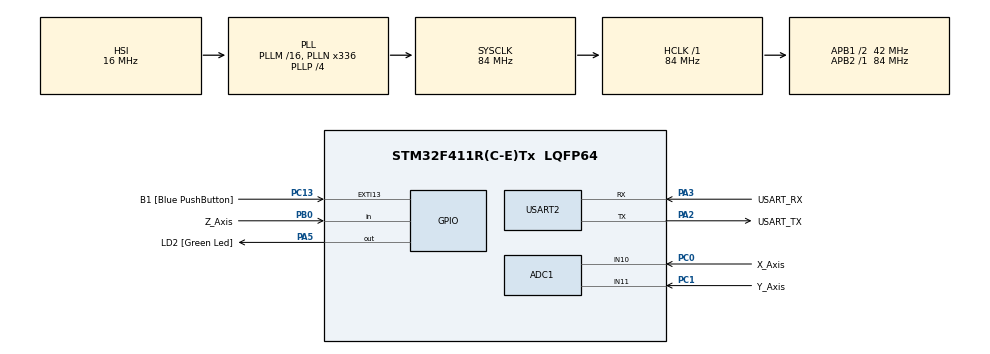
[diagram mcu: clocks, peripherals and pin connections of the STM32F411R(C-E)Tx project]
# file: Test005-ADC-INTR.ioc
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ADC1.Channel-0\#ChannelRegularConversion=ADC_CHANNEL_10
ADC1.Channel-3\#ChannelRegularConversion=ADC_CHANNEL_11
ADC1.DiscontinuousConvMode=ENABLE
ADC1.InjNumberOfConversion=0
ADC1.NbrOfConversion=2
ADC1.NbrOfConversionFlag=1
ADC1.NbrOfDiscConversion=1
ADC1.Rank-0\#ChannelRegularConversion=1
ADC1.Rank-3\#ChannelRegularConversion=2
ADC1.SamplingTime-0\#ChannelRegularConversion=ADC_SAMPLETIME_3CYCLES
ADC1.SamplingTime-3\#ChannelRegularConversion=ADC_SAMPLETIME_3CYCLES
ADC1.ScanConvMode=ENABLE
ADC1.master=1
Mcu.Family=STM32F4
Mcu.Name=STM32F411R(C-E)Tx
Mcu.Package=LQFP64
NVIC.ADC_IRQn=true\:0\:0\:false\:false\:true\:true\:true\:true
NVIC.PriorityGroup=NVIC_PRIORITYGROUP_0
NVIC.TIM3_IRQn=true\:0\:0\:false\:false\:true\:true\:true\:true
PA13.GPIO_Label=TMS
PA13.Mode=Serial_Wire
PA13.Signal=SYS_JTMS-SWDIO
PA14.GPIO_Label=TCK
PA14.Mode=Serial_Wire
PA14.Signal=SYS_JTCK-SWCLK
PA2.GPIO_Label=USART_TX
PA2.Mode=Asynchronous
PA2.Signal=USART2_TX
PA3.GPIO_Label=USART_RX
PA3.Mode=Asynchronous
PA3.Signal=USART2_RX
PA5.GPIO_Label=LD2 [Green Led]
PA5.Signal=GPIO_Output
PB0.GPIO_Label=Z_Axis
PB0.GPIO_PuPd=GPIO_PULLUP
PB0.Signal=GPIO_Input
PB3.GPIO_Label=SWO
PB3.Signal=SYS_JTDO-SWO
PC0.GPIO_Label=X_Axis
PC0.Signal=ADCx_IN10
PC1.GPIO_Label=Y_Axis
PC1.Signal=ADCx_IN11
PC13-ANTI_TAMP.GPIO_Label=B1 [Blue PushButton]
PC13-ANTI_TAMP.GPIO_ModeDefaultEXTI=GPIO_MODE_IT_FALLING
PC13-ANTI_TAMP.Signal=GPXTI13
PC14-OSC32_IN.Mode=LSE-External-Oscillator
PC14-OSC32_IN.Signal=RCC_OSC32_IN
PC15-OSC32_OUT.Mode=LSE-External-Oscillator
PC15-OSC32_OUT.Signal=RCC_OSC32_OUT
PH0\ -\ OSC_IN.Mode=HSE-External-Clock-Source
PH0\ -\ OSC_IN.Signal=RCC_OSC_IN
PH1\ -\ OSC_OUT.Mode=HSE-External-Clock-Source
PH1\ -\ OSC_OUT.Signal=RCC_OSC_OUT
ProjectManager.HeapSize=0x200
ProjectManager.StackSize=0x400
ProjectManager.TargetToolchain=STM32CubeIDE
RCC.48MHZClocksFreq_Value=84000000
RCC.AHBFreq_Value=84000000
RCC.APB1CLKDivider=RCC_HCLK_DIV2
RCC.APB1Freq_Value=42000000
RCC.APB1TimFreq_Value=84000000
RCC.APB2Freq_Value=84000000
RCC.APB2TimFreq_Value=84000000
RCC.CortexFreq_Value=84000000
RCC.FLatency-AdvancedSettings=FLASH_LATENCY_2
RCC.HCLKFreq_Value=84000000
RCC.HSE_VALUE=8000000
RCC.HSI_VALUE=16000000
RCC.PLLN=336
RCC.PLLP=RCC_PLLP_DIV4
RCC.SYSCLKFreq_VALUE=84000000
RCC.SYSCLKSource=RCC_SYSCLKSOURCE_PLLCLK
RCC.VCOOutputFreq_Value=336000000
SH.ADCx_IN10.0=ADC1_IN10,IN10
SH.ADCx_IN11.0=ADC1_IN11,IN11
TIM3.Period=2000-1
TIM3.Prescaler=8400-1
TIM4.Period=65535
TIM4.Prescaler=8400-1
USART2.VirtualMode=VM_ASYNC
VP_TIM3_VS_ClockSourceINT.Mode=Internal
VP_TIM4_VS_ClockSourceINT.Mode=Internal
board=NUCLEO-F411RE

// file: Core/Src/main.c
/* USER CODE BEGIN Header */
/**
  ******************************************************************************
  * @file           : main.c
  * @brief          : Main program body
  ******************************************************************************
  * @attention
  *
  * Copyright (c) 2024 STMicroelectronics.
  * All rights reserved.
  *
  * This software is licensed under terms that can be found in the LICENSE file
  * in the root directory of this software component.
  * If no LICENSE file comes with this software, it is provided AS-IS.
  *
  ******************************************************************************
  */
/* USER CODE END Header */
#include "main.h"

ADC_HandleTypeDef hadc1;

TIM_HandleTypeDef htim3;
TIM_HandleTypeDef htim4;

UART_HandleTypeDef huart2;

void SystemClock_Config(void);
static void MX_GPIO_Init(void);
static void MX_USART2_UART_Init(void);
static void MX_ADC1_Init(void);
static void MX_TIM3_Init(void);
static void MX_TIM4_Init(void);

/* USER CODE BEGIN 0 */
int xa[100],ya[100];
void MakeItem()
{
	int i;
	srand(htim4.Instance->CNT);
	for(i=0;i<100;i++)
	{
		int v1 =  rand();  //0 ~ 2,147,483,647
		int v2 =  rand();
		//printf("v : %d\r\n", x);
		//HAL_Delay(100);
		xa[i] = (((double)v1 / 2147483647.)) * 80;
		ya[i] = (((double)v2 / 2147483647.)) * 24;
		//printf("[%d;%d](%d,%d)\r\n",v1, v2, xa[i], ya[i]);
		printf("\033[%d;%dHo",ya[i], xa[i]);
	}
	printf("\n");
}
int cx=39,cy=12;  // initial position
int x, y = 12;
int idx=0;
void HAL_ADC_ConvCpltCallback(ADC_HandleTypeDef *hadc)
{
	//HAL_ADC_Start(&hadc1);  no need in HAL_ADC_ConvCpltCallback function
	//HAL_ADC_PollForConversion(&hadc1, 1000);  no need in HAL_ADC_ConvCpltCallback function
	int v = ((double)((HAL_ADC_GetValue(&hadc1) / 1400))) - 1;  //(0~4096)/1400 = -1, 0, 1  -> joystick move 1kan
	if (idx==0) x=cx+v; else y=cy+v;
	//printf("ADC value: %d\r\n", v);
	if(++idx==2) idx=0;

}

void HAL_TIM_PeriodElapsedCallback(TIM_HandleTypeDef *htim)
{
	HAL_ADC_Start_IT(&hadc1);  //from HAL_TIM_Base_Start_IT(&htim3) -> use htim3 Interrupt  -> OPERATE HAL_ADC_ConvCpltCallback
}

/* USER CODE END 0 */

int main(void)
{

  /* MCU Configuration--------------------------------------------------------*/

  /* Reset of all peripherals, Initializes the Flash interface and the Systick. */
  HAL_Init();

  /* Configure the system clock */
  SystemClock_Config();

  /* Initialize all configured peripherals */
  MX_GPIO_Init();
  MX_USART2_UART_Init();
  MX_ADC1_Init();
  MX_TIM3_Init();
  MX_TIM4_Init();
  /* USER CODE BEGIN 2 */
  ProgramStart("ADC-Interrupt");
  HAL_TIM_Base_Start_IT(&htim3);  //use htim3 interrupt
  HAL_TIM_Base_Start(&htim4);    // use htim4 timer
  printf("\033[2J\033[?25l\n");  // Clear screen & cursor invisible
  MakeItem();

  /* USER CODE END 2 */

  /* Infinite loop */
  /* USER CODE BEGIN WHILE */
  int sx=80,sy=24;	// screen size

  while (1)
  {

	 //printf("current adc: %d %d\r\n", x, y);
	 x = (x > 78) ? 78 : (x < 0) ? 0 : x;
	 y = (y > 23) ? 23 : (y < 0) ? 0 : y;
	 int z = HAL_GPIO_ReadPin(Z_Axis_GPIO_Port, Z_Axis_Pin);
	 printf("\033[0;0HADC Value : (%d,%d,%d)", x, y, z);  // location info
	 printf("\033[%d;%dH \033[%d;%dH@\033[A\n", cy, cx, y, x);
	 cx = x; cy = y;  //save joysitck current position
	 HAL_Delay(100);

    /* USER CODE END WHILE */

  }
}

void SystemClock_Config(void)
{
  RCC_OscInitTypeDef RCC_OscInitStruct = {0};
  RCC_ClkInitTypeDef RCC_ClkInitStruct = {0};

  /** Configure the main internal regulator output voltage
  */
  __HAL_RCC_PWR_CLK_ENABLE();
  __HAL_PWR_VOLTAGESCALING_CONFIG(PWR_REGULATOR_VOLTAGE_SCALE1);

  /** Initializes the RCC Oscillators according to the specified parameters
  * in the RCC_OscInitTypeDef structure.
  */
  RCC_OscInitStruct.OscillatorType = RCC_OSCILLATORTYPE_HSI;
  RCC_OscInitStruct.HSIState = RCC_HSI_ON;
  RCC_OscInitStruct.HSICalibrationValue = RCC_HSICALIBRATION_DEFAULT;
  RCC_OscInitStruct.PLL.PLLState = RCC_PLL_ON;
  RCC_OscInitStruct.PLL.PLLSource = RCC_PLLSOURCE_HSI;
  RCC_OscInitStruct.PLL.PLLM = 16;
  RCC_OscInitStruct.PLL.PLLN = 336;
  RCC_OscInitStruct.PLL.PLLP = RCC_PLLP_DIV4;
  RCC_OscInitStruct.PLL.PLLQ = 4;
  if (HAL_RCC_OscConfig(&RCC_OscInitStruct) != HAL_OK)
  {
    Error_Handler();
  }

  /** Initializes the CPU, AHB and APB buses clocks
  */
  RCC_ClkInitStruct.ClockType = RCC_CLOCKTYPE_HCLK|RCC_CLOCKTYPE_SYSCLK
                              |RCC_CLOCKTYPE_PCLK1|RCC_CLOCKTYPE_PCLK2;
  RCC_ClkInitStruct.SYSCLKSource = RCC_SYSCLKSOURCE_PLLCLK;
  RCC_ClkInitStruct.AHBCLKDivider = RCC_SYSCLK_DIV1;
  RCC_ClkInitStruct.APB1CLKDivider = RCC_HCLK_DIV2;
  RCC_ClkInitStruct.APB2CLKDivider = RCC_HCLK_DIV1;

  if (HAL_RCC_ClockConfig(&RCC_ClkInitStruct, FLASH_LATENCY_2) != HAL_OK)
  {
    Error_Handler();
  }
}

static void MX_ADC1_Init(void)
{

  ADC_ChannelConfTypeDef sConfig = {0};

  /** Configure the global features of the ADC (Clock, Resolution, Data Alignment and number of conversion)
  */
  hadc1.Instance = ADC1;
  hadc1.Init.ClockPrescaler = ADC_CLOCK_SYNC_PCLK_DIV4;
  hadc1.Init.Resolution = ADC_RESOLUTION_12B;
  hadc1.Init.ScanConvMode = ENABLE;
  hadc1.Init.ContinuousConvMode = DISABLE;
  hadc1.Init.DiscontinuousConvMode = ENABLE;
  hadc1.Init.NbrOfDiscConversion = 1;
  hadc1.Init.ExternalTrigConvEdge = ADC_EXTERNALTRIGCONVEDGE_NONE;
  hadc1.Init.ExternalTrigConv = ADC_SOFTWARE_START;
  hadc1.Init.DataAlign = ADC_DATAALIGN_RIGHT;
  hadc1.Init.NbrOfConversion = 2;
  hadc1.Init.DMAContinuousRequests = DISABLE;
  hadc1.Init.EOCSelection = ADC_EOC_SINGLE_CONV;
  if (HAL_ADC_Init(&hadc1) != HAL_OK)
  {
    Error_Handler();
  }

  /** Configure for the selected ADC regular channel its corresponding rank in the sequencer and its sample time.
  */
  sConfig.Channel = ADC_CHANNEL_10;
  sConfig.Rank = 1;
  sConfig.SamplingTime = ADC_SAMPLETIME_3CYCLES;
  if (HAL_ADC_ConfigChannel(&hadc1, &sConfig) != HAL_OK)
  {
    Error_Handler();
  }

  /** Configure for the selected ADC regular channel its corresponding rank in the sequencer and its sample time.
  */
  sConfig.Channel = ADC_CHANNEL_11;
  sConfig.Rank = 2;
  if (HAL_ADC_ConfigChannel(&hadc1, &sConfig) != HAL_OK)
  {
    Error_Handler();
  }

}

static void MX_TIM3_Init(void)
{

  TIM_ClockConfigTypeDef sClockSourceConfig = {0};
  TIM_MasterConfigTypeDef sMasterConfig = {0};

  htim3.Instance = TIM3;
  htim3.Init.Prescaler = 8400-1;
  htim3.Init.CounterMode = TIM_COUNTERMODE_UP;
  htim3.Init.Period = 2000-1;
  htim3.Init.ClockDivision = TIM_CLOCKDIVISION_DIV1;
  htim3.Init.AutoReloadPreload = TIM_AUTORELOAD_PRELOAD_DISABLE;
  if (HAL_TIM_Base_Init(&htim3) != HAL_OK)
  {
    Error_Handler();
  }
  sClockSourceConfig.ClockSource = TIM_CLOCKSOURCE_INTERNAL;
  if (HAL_TIM_ConfigClockSource(&htim3, &sClockSourceConfig) != HAL_OK)
  {
    Error_Handler();
  }
  sMasterConfig.MasterOutputTrigger = TIM_TRGO_RESET;
  sMasterConfig.MasterSlaveMode = TIM_MASTERSLAVEMODE_DISABLE;
  if (HAL_TIMEx_MasterConfigSynchronization(&htim3, &sMasterConfig) != HAL_OK)
  {
    Error_Handler();
  }

}

static void MX_TIM4_Init(void)
{

  TIM_ClockConfigTypeDef sClockSourceConfig = {0};
  TIM_MasterConfigTypeDef sMasterConfig = {0};

  htim4.Instance = TIM4;
  htim4.Init.Prescaler = 8400-1;
  htim4.Init.CounterMode = TIM_COUNTERMODE_UP;
  htim4.Init.Period = 65535;
  htim4.Init.ClockDivision = TIM_CLOCKDIVISION_DIV1;
  htim4.Init.AutoReloadPreload = TIM_AUTORELOAD_PRELOAD_DISABLE;
  if (HAL_TIM_Base_Init(&htim4) != HAL_OK)
  {
    Error_Handler();
  }
  sClockSourceConfig.ClockSource = TIM_CLOCKSOURCE_INTERNAL;
  if (HAL_TIM_ConfigClockSource(&htim4, &sClockSourceConfig) != HAL_OK)
  {
    Error_Handler();
  }
  sMasterConfig.MasterOutputTrigger = TIM_TRGO_RESET;
  sMasterConfig.MasterSlaveMode = TIM_MASTERSLAVEMODE_DISABLE;
  if (HAL_TIMEx_MasterConfigSynchronization(&htim4, &sMasterConfig) != HAL_OK)
  {
    Error_Handler();
  }

}

static void MX_USART2_UART_Init(void)
{

  huart2.Instance = USART2;
  huart2.Init.BaudRate = 115200;
  huart2.Init.WordLength = UART_WORDLENGTH_8B;
  huart2.Init.StopBits = UART_STOPBITS_1;
  huart2.Init.Parity = UART_PARITY_NONE;
  huart2.Init.Mode = UART_MODE_TX_RX;
  huart2.Init.HwFlowCtl = UART_HWCONTROL_NONE;
  huart2.Init.OverSampling = UART_OVERSAMPLING_16;
  if (HAL_UART_Init(&huart2) != HAL_OK)
  {
    Error_Handler();
  }

}

static void MX_GPIO_Init(void)
{
  GPIO_InitTypeDef GPIO_InitStruct = {0};

  /* GPIO Ports Clock Enable */
  __HAL_RCC_GPIOC_CLK_ENABLE();
  __HAL_RCC_GPIOH_CLK_ENABLE();
  __HAL_RCC_GPIOA_CLK_ENABLE();
  __HAL_RCC_GPIOB_CLK_ENABLE();

  /*Configure GPIO pin Output Level */
  HAL_GPIO_WritePin(LD2_GPIO_Port, LD2_Pin, GPIO_PIN_RESET);

  /*Configure GPIO pin : B1_Pin */
  GPIO_InitStruct.Pin = B1_Pin;
  GPIO_InitStruct.Mode = GPIO_MODE_IT_FALLING;
  GPIO_InitStruct.Pull = GPIO_NOPULL;
  HAL_GPIO_Init(B1_GPIO_Port, &GPIO_InitStruct);

  /*Configure GPIO pin : LD2_Pin */
  GPIO_InitStruct.Pin = LD2_Pin;
  GPIO_InitStruct.Mode = GPIO_MODE_OUTPUT_PP;
  GPIO_InitStruct.Pull = GPIO_NOPULL;
  GPIO_InitStruct.Speed = GPIO_SPEED_FREQ_LOW;
  HAL_GPIO_Init(LD2_GPIO_Port, &GPIO_InitStruct);

  /*Configure GPIO pin : Z_Axis_Pin */
  GPIO_InitStruct.Pin = Z_Axis_Pin;
  GPIO_InitStruct.Mode = GPIO_MODE_INPUT;
  GPIO_InitStruct.Pull = GPIO_PULLUP;
  HAL_GPIO_Init(Z_Axis_GPIO_Port, &GPIO_InitStruct);

}

void Error_Handler(void)
{
  __disable_irq();
  while (1)
  {
  }
}
